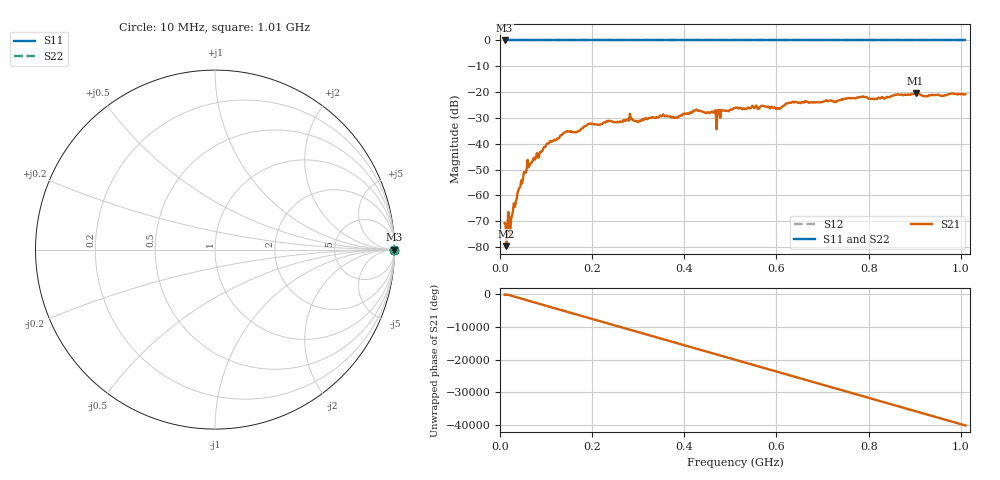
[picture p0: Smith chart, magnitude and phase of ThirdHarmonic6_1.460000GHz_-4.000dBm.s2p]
! 8/16/2025 4:58:00 PM
! C:\ANRITSUVNA\TEMP\TEMP.S2P
! CHANNEL.1
! TR.MEASUREMENT
! RAW.DATA
! RF.CORRECTION.OFF
! AVERAGING.OFF
! IF.BANDWIDTH: 5KHZ
! SWEEPTYPE:  FREQ.SWEEP(Linear)
! Reference Plane Port Info
! PORT:  PORT1  PORT2
! DISTANCE:  0  m  0  m
! TIME:  0  s  0  s
! PHASE.OFFSET:  0  deg.  0  deg.
! LOSS:  0  dB  0  dB
! REF.LOSS:  0  dB  0  dB
! REF.FREQ:  0  Hz  0  Hz
! Power Info
! POWER:  -20  dBm  -20  dBm
! EFF.POWER:  -20  dBm  -20  dBm
! SOURCE.ATTEN:  0  dB  0  dB
! TEST.ATTEN:  0  dB  0  dB
# GHZ S RI R 50.0
! FREQ.GHZ  S11RE  S11IM  S21RE  S21IM  S12RE  S12IM  S22RE  S22IM
!; PortSelection: Port_12
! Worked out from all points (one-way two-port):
!   501 points, 10 MHz to 1.01 GHz, reference 50 ohm
!   highest |S21| = -20.46 dB at 902 MHz (marker M1); lowest = -79.7 dB at 14 MHz (marker M2)
!   lowest |S11| = 0.0 dB at 10 MHz (marker M3)
!   |S11| at or under -10 dB: nowhere
!   |S22| runs from 0.0 to 0.0 dB; largest |S21 - S12| = 1.1
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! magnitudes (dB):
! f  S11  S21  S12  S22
! 10 MHz  0.0  -70.7  0.0  0.0
! 14 MHz  0.0  -79.7  0.0  0.0
! 18 MHz  0.0  -66.4  0.0  0.0
! 42 MHz  0.0  -57.2  0.0  0.0
! 62 MHz  0.0  -49.2  0.0  0.0
! 106 MHz  0.0  -39.8  0.0  0.0
! 142 MHz  0.0  -35.5  0.0  0.0
! 178 MHz  0.0  -34.1  0.0  0.0
! 196 MHz  0.0  -32.2  0.0  0.0
! 344 MHz  0.0  -29.8  0.0  0.0
! 382 MHz  0.0  -29.8  0.0  0.0
! 424 MHz  0.0  -27.1  0.0  0.0
! 464 MHz  0.0  -27.9  0.0  0.0
! 474 MHz  0.0  -26.8  0.0  0.0
! 476 MHz  0.0  -27.0  0.0  0.0
! 510 MHz  0.0  -26.2  0.0  0.0
! 604 MHz  0.0  -26.2  0.0  0.0
! 632 MHz  0.0  -24.1  0.0  0.0
! 678 MHz  0.0  -24.0  0.0  0.0
! 844 MHz  0.0  -22.0  0.0  0.0
! 902 MHz  0.0  -20.5  0.0  0.0
! 1.01 GHz  0.0  -20.8  0.0  0.0
